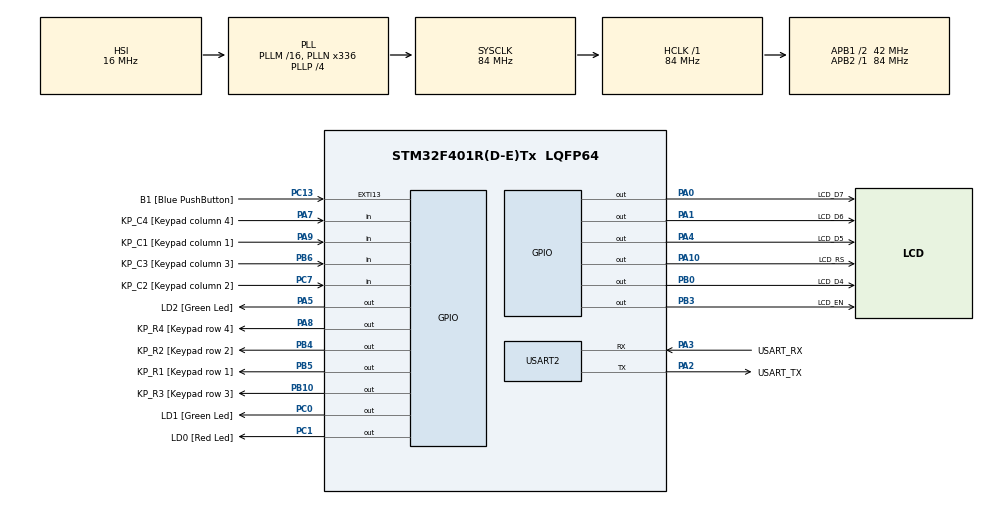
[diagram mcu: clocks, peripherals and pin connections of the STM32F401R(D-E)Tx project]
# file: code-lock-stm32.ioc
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Mcu.Family=STM32F4
Mcu.Name=STM32F401R(D-E)Tx
Mcu.Package=LQFP64
NVIC.PriorityGroup=NVIC_PRIORITYGROUP_0
NVIC.TIM1_UP_TIM10_IRQn=true\:0\:0\:false\:false\:true\:true\:true\:true
PA0-WKUP.GPIO_Label=LCD_D7
PA0-WKUP.Signal=GPIO_Output
PA1.GPIO_Label=LCD_D6
PA1.Signal=GPIO_Output
PA10.GPIO_Label=LCD_RS
PA10.Signal=GPIO_Output
PA13.GPIO_Label=TMS
PA13.Mode=Serial_Wire
PA13.Signal=SYS_JTMS-SWDIO
PA14.GPIO_Label=TCK
PA14.Mode=Serial_Wire
PA14.Signal=SYS_JTCK-SWCLK
PA2.GPIO_Label=USART_TX
PA2.GPIO_Mode=GPIO_MODE_AF_PP
PA2.GPIO_PuPd=GPIO_NOPULL
PA2.GPIO_Speed=GPIO_SPEED_FREQ_LOW
PA2.Mode=Asynchronous
PA2.Signal=USART2_TX
PA3.GPIO_Label=USART_RX
PA3.GPIO_Mode=GPIO_MODE_AF_PP
PA3.GPIO_PuPd=GPIO_NOPULL
PA3.GPIO_Speed=GPIO_SPEED_FREQ_LOW
PA3.Mode=Asynchronous
PA3.Signal=USART2_RX
PA4.GPIO_Label=LCD_D5
PA4.Signal=GPIO_Output
PA5.GPIO_Label=LD2 [Green Led]
PA5.GPIO_Mode=GPIO_MODE_OUTPUT_PP
PA5.GPIO_PuPd=GPIO_NOPULL
PA5.GPIO_Speed=GPIO_SPEED_FREQ_LOW
PA5.Signal=GPIO_Output
PA7.GPIO_Label=KP_C4 [Keypad column 4]
PA7.GPIO_PuPd=GPIO_PULLUP
PA7.Signal=GPIO_Input
PA8.GPIO_Label=KP_R4 [Keypad row 4]
PA8.Signal=GPIO_Output
PA9.GPIO_Label=KP_C1 [Keypad column 1]
PA9.GPIO_PuPd=GPIO_PULLUP
PA9.Signal=GPIO_Input
PB0.GPIO_Label=LCD_D4
PB0.Signal=GPIO_Output
PB10.GPIO_Label=KP_R3 [Keypad row 3]
PB10.Signal=GPIO_Output
PB3.GPIO_Label=LCD_EN
PB3.Signal=GPIO_Output
PB4.GPIO_Label=KP_R2 [Keypad row 2]
PB4.Signal=GPIO_Output
PB5.GPIO_Label=KP_R1 [Keypad row 1]
PB5.Signal=GPIO_Output
PB6.GPIO_Label=KP_C3 [Keypad column 3]
PB6.GPIO_PuPd=GPIO_PULLUP
PB6.Signal=GPIO_Input
PC0.GPIO_Label=LD1 [Green Led]
PC0.Signal=GPIO_Output
PC1.GPIO_Label=LD0 [Red Led]
PC1.Signal=GPIO_Output
PC13-ANTI_TAMP.GPIO_Label=B1 [Blue PushButton]
PC13-ANTI_TAMP.GPIO_ModeDefaultEXTI=GPIO_MODE_IT_FALLING
PC13-ANTI_TAMP.GPIO_PuPd=GPIO_NOPULL
PC13-ANTI_TAMP.Signal=GPXTI13
PC14-OSC32_IN.Mode=LSE-External-Oscillator
PC14-OSC32_IN.Signal=RCC_OSC32_IN
PC15-OSC32_OUT.Mode=LSE-External-Oscillator
PC15-OSC32_OUT.Signal=RCC_OSC32_OUT
PC7.GPIO_Label=KP_C2 [Keypad column 2]
PC7.GPIO_PuPd=GPIO_PULLUP
PC7.Signal=GPIO_Input
PH0\ -\ OSC_IN.Mode=HSE-External-Clock-Source
PH0\ -\ OSC_IN.Signal=RCC_OSC_IN
PH1\ -\ OSC_OUT.Mode=HSE-External-Clock-Source
PH1\ -\ OSC_OUT.Signal=RCC_OSC_OUT
ProjectManager.HeapSize=0x200
ProjectManager.StackSize=0x400
ProjectManager.TargetToolchain=STM32CubeIDE
RCC.48MHZClocksFreq_Value=48000000
RCC.AHBFreq_Value=84000000
RCC.APB1CLKDivider=RCC_HCLK_DIV2
RCC.APB1Freq_Value=42000000
RCC.APB1TimFreq_Value=84000000
RCC.APB2Freq_Value=84000000
RCC.APB2TimFreq_Value=84000000
RCC.CortexFreq_Value=84000000
RCC.HCLKFreq_Value=84000000
RCC.HSE_VALUE=8000000
RCC.HSI_VALUE=16000000
RCC.PLLN=336
RCC.PLLP=RCC_PLLP_DIV4
RCC.PLLQ=7
RCC.SYSCLKFreq_VALUE=84000000
RCC.SYSCLKSource=RCC_SYSCLKSOURCE_PLLCLK
RCC.VCOOutputFreq_Value=336000000
TIM10.AutoReloadPreload=TIM_AUTORELOAD_PRELOAD_ENABLE
TIM10.Period=155
TIM10.Prescaler=5375
USART2.VirtualMode=VM_ASYNC
VP_TIM10_VS_ClockSourceINT.Mode=Enable_Timer
board=NUCLEO-F401RE

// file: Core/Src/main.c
/* USER CODE BEGIN Header */
/**
  ******************************************************************************
  * @file           : main.c
  * @brief          : Main program body
  ******************************************************************************
  * @attention
  *
  * Copyright (c) 2024 STMicroelectronics.
  * All rights reserved.
  *
  * This software is licensed under terms that can be found in the LICENSE file
  * in the root directory of this software component.
  * If no LICENSE file comes with this software, it is provided AS-IS.
  *
  ******************************************************************************
  */
/* USER CODE END Header */
#include "main.h"
#include "tim.h"
#include "usart.h"
#include "gpio.h"

/* USER CODE BEGIN Includes */
#include "lcd_4bit.h"
#include "keypad_4x4.h"
/* USER CODE END Includes */

void SystemClock_Config(void);

int main(void)
{

  /* MCU Configuration--------------------------------------------------------*/

  /* Reset of all peripherals, Initializes the Flash interface and the Systick. */
  HAL_Init();

  /* Configure the system clock */
  SystemClock_Config();

  /* Initialize all configured peripherals */
  MX_GPIO_Init();
  MX_USART2_UART_Init();
  MX_TIM10_Init();
  /* USER CODE BEGIN 2 */
  lcd_init();
  lcd_set_cursor(0, 0);
  lcd_print_str("Enter password:");
  lcd_set_cursor(0, 1);
  lcd_print_str("----");
  lcd_set_cursor(0, 1);

  keypad_init();

  char password[] = {'3', '5', '9', '3'};
  char input[] = {'-', '-', '-', '-'};
  char key;
  int pos = 0;
  /* USER CODE END 2 */

  /* Infinite loop */
  while (1)
  {

    /* USER CODE BEGIN 3 */
	key = keypad_get_key();

	if (key == '#')
	{
	  if (pos != 0)
	  {
	    pos--;
	    input[pos] = '-';
	    lcd_move_cursor_left();
	    lcd_print_char('-');
	    lcd_move_cursor_left();
	  }
	}
	else if (key == '*')
	{
	  if (pos == 4)
	  {
	    lcd_clear();
	    lcd_set_cursor(0, 0);

	    if (password[0] == input[0] &&
	        password[1] == input[1] &&
	        password[2] == input[2] &&
	        password[3] == input[3])
	    {
	      HAL_GPIO_WritePin(LD1_GPIO_Port, LD1_Pin, GPIO_PIN_SET);
	      lcd_print_str("Correct password");
	      HAL_Delay(3000);
	      HAL_GPIO_WritePin(LD1_GPIO_Port, LD1_Pin, GPIO_PIN_RESET);
	    }
	    else
	    {
	      HAL_GPIO_WritePin(LD0_GPIO_Port, LD0_Pin, GPIO_PIN_SET);
	      lcd_print_str("Wrong password!");
	      HAL_Delay(3000);
	      HAL_GPIO_WritePin(LD0_GPIO_Port, LD0_Pin, GPIO_PIN_RESET);
	    }

	    for (int i = 0; i < 4; i++)
	    {
	      input[i] = '-';
	    }

	    lcd_clear();
	    lcd_set_cursor(0, 0);
	    lcd_print_str("Enter password:");
	    lcd_set_cursor(0, 1);
	    lcd_print_str("----");
	    lcd_set_cursor(0, 1);
	    pos = 0;
	  }
	}
	else if (key)
	{
	  if (pos < 4)
	  {
	    input[pos] = key;
	    pos++;
	    lcd_print_char(key);
	  }
	}
  }
  /* USER CODE END 3 */
}

void SystemClock_Config(void)
{
  RCC_OscInitTypeDef RCC_OscInitStruct = {0};
  RCC_ClkInitTypeDef RCC_ClkInitStruct = {0};

  /** Configure the main internal regulator output voltage
  */
  __HAL_RCC_PWR_CLK_ENABLE();
  __HAL_PWR_VOLTAGESCALING_CONFIG(PWR_REGULATOR_VOLTAGE_SCALE2);

  /** Initializes the RCC Oscillators according to the specified parameters
  * in the RCC_OscInitTypeDef structure.
  */
  RCC_OscInitStruct.OscillatorType = RCC_OSCILLATORTYPE_HSI;
  RCC_OscInitStruct.HSIState = RCC_HSI_ON;
  RCC_OscInitStruct.HSICalibrationValue = RCC_HSICALIBRATION_DEFAULT;
  RCC_OscInitStruct.PLL.PLLState = RCC_PLL_ON;
  RCC_OscInitStruct.PLL.PLLSource = RCC_PLLSOURCE_HSI;
  RCC_OscInitStruct.PLL.PLLM = 16;
  RCC_OscInitStruct.PLL.PLLN = 336;
  RCC_OscInitStruct.PLL.PLLP = RCC_PLLP_DIV4;
  RCC_OscInitStruct.PLL.PLLQ = 7;
  if (HAL_RCC_OscConfig(&RCC_OscInitStruct) != HAL_OK)
  {
    Error_Handler();
  }

  /** Initializes the CPU, AHB and APB buses clocks
  */
  RCC_ClkInitStruct.ClockType = RCC_CLOCKTYPE_HCLK|RCC_CLOCKTYPE_SYSCLK
                              |RCC_CLOCKTYPE_PCLK1|RCC_CLOCKTYPE_PCLK2;
  RCC_ClkInitStruct.SYSCLKSource = RCC_SYSCLKSOURCE_PLLCLK;
  RCC_ClkInitStruct.AHBCLKDivider = RCC_SYSCLK_DIV1;
  RCC_ClkInitStruct.APB1CLKDivider = RCC_HCLK_DIV2;
  RCC_ClkInitStruct.APB2CLKDivider = RCC_HCLK_DIV1;

  if (HAL_RCC_ClockConfig(&RCC_ClkInitStruct, FLASH_LATENCY_2) != HAL_OK)
  {
    Error_Handler();
  }
}

void Error_Handler(void)
{
  __disable_irq();
  while (1)
  {
  }
}
